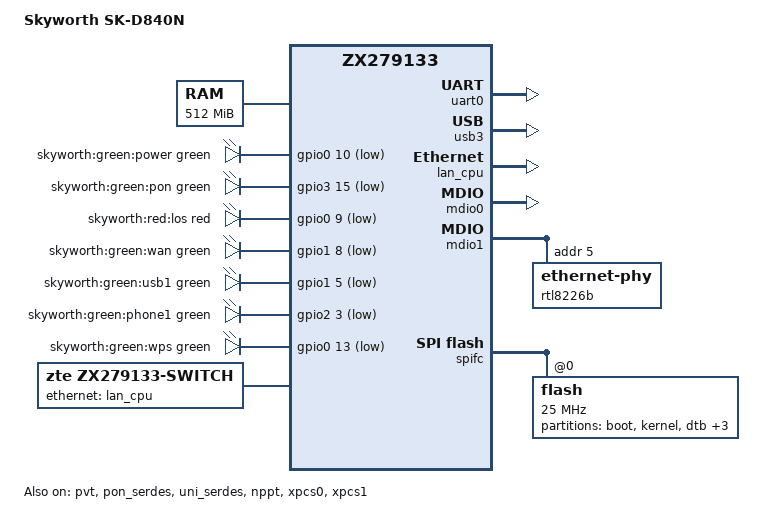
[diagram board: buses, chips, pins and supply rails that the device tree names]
// SPDX-License-Identifier: GPL-2.0-only OR BSD-2-Clause
// Skyworth SK-D840N (GPON ONU, Sanechips/ZTE ZX279133) board tree for the
// cnjn mainline 6.18.38 zte/zx279133 target.
//
// Facts taken from this unit, not guessed:
//   - SPI-NAND hangs off the SFC at 0x10d0f000 (live: /sys/.../10d0f000.spifc/spi_master/spi1/spi1.0)
//   - partition map is derived from the community/vendor U-Boot one (env at boot+0x180000):
//       boot 2048k@0x0 kernel 8192k@0x200000 dtb 1024k@0xa00000
//       "parameter tags" 4096k@0xb00000 root+scratch 246784k@0xf00000
//     This DTS splits that last 246784k (= 241 MiB) into root 240 MiB at 0xf00000 and
//     scratch 1 MiB at 0xff00000 (the vendor 4.19 table keeps it as one 241 MiB root).
//     The /dev/mtdN numbering is pinned by the mtd1..mtd6 aliases below, not counted off
//     node order, so it survives a kernel-config change: boot=1 kernel=2 dtb=3
//     "parameter tags"=4 root=5 scratch=6, and mtd0 is the SPI-NAND master if
//     CONFIG_MTD_PARTITIONED_MASTER is enabled and absent if it is not.
//     (`root` must stay index 5 - the installed U-Boot bootargs hard-code
//      root=/dev/mtdblock5 - *and* must start at 0xf00000, because that is where the
//      system that does the flashing puts its own `root`: the vendor 4.19 table is
//      whole/boot/kernel/dtb/param/root@0xf00000 (one 241 MiB root), and /sbin/mtd
//      on it can only erase and write a whole partition by label. An image that
//      satisfied one constraint but not the other boots as a VFS panic with no
//      serial to read.)
//   - console is the PL011-compatible zte,zx279133-uart at 0x10d0d000, 115200n8
//   - memory is 512 MiB at 0x80000000 (stock DTB: reg = <0x0 0x80000000 0x0 0x20000000>)
//
// OPEN ITEMS (deliberately copied from the validated SR1010 board file, to be
// re-probed on this unit before the image is ever flashed):
//   * Only the RTL8226 port below is reachable in mainline. The four GE LAN ports
//     sit behind the SoC-internal "9132" UNI switch, which the vendor drives
//     without phylib or DSA at all: switch.ko writes the port/VLAN tables directly
//     at module init. The /dev/ethdriver ioctl is an 8-byte stub, NOT a config
//     interface (docs/07 补九十七); do not use it as the bring-up path. There is no
//     mainline equivalent, so SR1010's RTL8372N DSA node is dropped and the LAN-side
//     zte,zx279133-lan-conduit child is left out too (it is the CPU port of an
//     external switch this board does not have).
//     mainline registers eth0 but never moves traffic through it; the vendor 4.19
//     also sends 0 bytes on this jack (docs/07 补九十四). Only U-Boot has moved
//     traffic (11 MB) - so jack 4 is optional, not the bring-up gate.
//     This unit has **no WAN/uplink jack at all** - the front panel is 4x LAN plus
//     the fibre PON - so eth0 (NPPT + RTL8226) is one of those four LAN jacks, and
//     the running image only calls it `wan` because the community config came from
//     a router default (lan bridge = eth1 eth2 eth3, wan.device = eth0). Which jack
//     it is can be read straight off the vendor driver, which logs the port number
//     per netdev: `[eth0] port 4 link up` / `[eth1] port 1 link up:1000M`, i.e.
//     move a cable and watch dmesg. Anyone testing over the wire has to be in
//     *that* jack, because no LAN port driven by the 9132 exists in mainline.
//   * MAC address: the ZTE "parameter tags" nvmem layout of SR1010 does not
//     apply, so no MAC source is given; see the comment on &nppt.

/dts-v1/;

#include <dt-bindings/gpio/gpio.h>
#include <dt-bindings/input/input.h>
#include <dt-bindings/leds/common.h>

#include "zx279133.dtsi"

/ {
	model = "Skyworth SK-D840N";
	compatible = "skyworth,sk-d840n", "zte,zx279133";

	aliases {
		serial0 = &uart0;
		watchdog0 = &watchdog0;
		watchdog1 = &watchdog1;
		/* Pin the /dev/mtdN numbering (drivers/mtd/mtdcore.c add_mtd_device():
		 * `ofidx = of_alias_get_id(np, "mtd")` then idr_alloc(ofidx, ofidx+1)).
		 * Without this the numbers depend on CONFIG_MTD_PARTITIONED_MASTER, which
		 * decides whether the SPI-NAND master itself occupies mtd0 - and a wrong
		 * guess boots as a VFS panic on the wrong partition, with no serial to read.
		 */
		mtd1 = &bootpart;
		mtd2 = &kernelpart;
		mtd3 = &dtbpart;
		mtd4 = &tagspart;
		mtd5 = &rootpart;
		mtd6 = &scratchpart;
	};

	chosen {
		stdout-path = "serial0:115200n8";
		/* Same string the build script pins into CONFIG_CMDLINE. It belongs here as
		 * well because the kernel's built-in-vs-bootloader precedence (FROM_BOOTLOADER,
		 * EXTEND, FORCE) is a config choice nobody is looking at, and the two spellings
		 * agreeing is what makes the root device the same in all three. mtdblock5 is
		 * pinned by the mtd5 alias below, and jffs2 is what the root partition holds.
		 */
		bootargs = "console=ttyAMA0,115200n8 root=/dev/mtdblock5 rootfstype=jffs2 ro rootwait";
	};

	memory@80000000 {
		device_type = "memory";
		reg = <0x0 0x80000000 0x0 0x20000000>;
	};

	reserved-memory {
		#address-cells = <2>;
		#size-cells = <2>;
		ranges;

		se_hash_reserved: buffer@9e100000 {
			reg = <0x0 0x9e100000 0x0 0x1000000>;
			no-map;
		};

		idm_reserved: buffer@9d700000 {
			reg = <0x0 0x9d700000 0x0 0xa00000>;
			no-map;
		};

		/*
		 * The BMU's pool: the BPPE tables, the normal buffers, the jumbo
		 * buffers and the descriptor area, in that order.  Its size has to
		 * cover ZX279133_BMU_REQUIRED_SIZE (0x101e000), which grew when
		 * the buffer size went to the vendor's 0x900 bytes.
		 *
		 * It used to sit at 0x9f100000, in the top 15 MiB, and it does
		 * not fit there any more.  The gap between the ramoops area and
		 * the IDM's pool - 0x9c200000..0x9d700000 - is the only space
		 * left that the marker test says U-Boot does not own (0x9c000000
		 * and 0x9d000000 both survived the reboot) and that the trial
		 * kernel's own text never reaches (trial-kexec.sh caps the
		 * placement below 0x9c000000).
		 */
		bmu_reserved: buffer@9c200000 {
			reg = <0x0 0x9c200000 0x0 0x1500000>;
			no-map;
		};

		/* pstore/ramoops: the console log written here survives a *warm* reset, which is
		 * the only way this board can hand back a boot log with no serial port. The
		 * trial round that uses it does not mask CRM 0x10e10208, so the vendor's
		 * already-armed zx_wdt (8 s, fed in-kernel by 4.19) bites some tens of seconds
		 * after the jump; the reset lands back in the flashed system, which dumps this
		 * region from /dev/mem within its first seconds.
		 *
		 * The address is measured, not guessed. Markers were written at nine addresses,
		 * the board was rebooted normally, and the readback says:
		 *   0x90000000 0x94000000 0x98000000 0x9c000000 0x9d000000   survived
		 *   0x9e100000 0x9f100000 0x9fa00000 0x9ff00000              rewritten
		 * so U-Boot owns roughly the top 32 MiB and everything from 0x9d700000 up is
		 * off limits (that is also where idm/se_hash/bmu live). Below that the vendor's
		 * page allocator works from the bottom up, so a dump taken seconds after boot
		 * still has the high end intact - which is the whole race, and why the read has
		 * to happen the moment the flashed system answers.
		 *
		 * 0x9c000000 rather than 0x9d000000 because the first round caught the loader:
		 * kexec's arm64 placement put the trial kernel's own *text* at 0x9d000000 (the
		 * bytes read back there are a literal substring of the Image), and no-map binds
		 * the new kernel, not the loader. trial-kexec.sh now caps the placement below
		 * this region with --mem-max.
		 */
		ramoops: buffer@9c000000 {
			compatible = "ramoops";
			no-map;
			reg = <0x0 0x9c000000 0x0 0x00200000>;
			console-size = <0x100000>;
			record-size = <0x4000>;
			pmsg-size = <0x40000>;
		};
	};

	/* Not copied from SR1010 and not read off the stock DTB's *node names* either -
	 * the running vendor kernel publishes the claim list directly, and it is the
	 * authority: /sys/kernel/debug/gpio names the GPIO each LED holds.
	 *
	 *   10d10000 = &gpio0:  9 led_los, 10 led_power, 13 led_wps
	 *   10d10040 = &gpio1:  5 led_usb1, 8 led_wan
	 *   10d10080 = &gpio2:  3 led_phone1
	 *   10d100c0 = &gpio3: 15 led_pon
	 *   10d10100 = &gpio4:  1 led_wlan
	 *
	 * Active-low, measured rather than inherited: driving the vendor's own LED class
	 * (echo 255 > /sys/class/leds/led_power/brightness) pulls that pin to "out lo" and
	 * the lamp lights, and all eight GPIO LEDs did exactly that. The front row then
	 * names itself, left to right:
	 *   电源=led_power=gpio-10   注册=led_pon=gpio-63   光信号(red)=led_los=gpio-9
	 *   上网=led_wan=gpio-24      lan1..lan4=led_lan0..3  usb1=led_usb1=gpio-21
	 * led_wps and led_phone1 are GPIO-backed in the vendor's list but were never
	 * identified on the case, and **led_wlan is not described at all: this board has no
	 * wireless and no WLAN lamp** (owner, 2026-10-12) - the vendor reserves gpio-65 under
	 * that name the way it reserves led_usb2 (led-id 0x35), which also has no lamp here.
	 *
	 * What is deliberately absent: led_lan0..lan3 appear in the vendor's
	 * /sys/class/leds and do light up when written, but they claim **no GPIO** in that
	 * list - the vendor reaches them through the SoC's LED engine instead, addressed by
	 * the stock DTB's `led-id` cell (led_power = 0x33, led_usb1 = 0x34, led_los = 0x08,
	 * ...), and on this panel those four are its only users. Mainline has no driver for
	 * that engine (see the OPEN ITEMS above), so the four LAN LEDs cannot be described
	 * here at all - they will stay dark under mainline even when a port links, and that
	 * is a missing feature of this SoC's mainline support, not a boot failure.
	 */
	leds {
		compatible = "gpio-leds";

		led-power {
			color = <LED_COLOR_ID_GREEN>;
			/* "on" rather than "keep" is the point, not a style choice: with no
			 * serial port the panel is the only witness that exists before
			 * userspace, and the vendor leaves every lamp dark, so a kernel that
			 * reaches gpio-leds probe lights it by itself. That gives three states
			 * to read off the case - dark = never got here, solid = probe done but
			 * /init never ran, blinking = userspace alive.
			 */
			default-state = "on";
			function = LED_FUNCTION_POWER;
			gpios = <&gpio0 10 GPIO_ACTIVE_LOW>;
			label = "skyworth:green:power";
		};

		led-pon {
			color = <LED_COLOR_ID_GREEN>;
			default-state = "keep";
			function = LED_FUNCTION_WAN;
			gpios = <&gpio3 15 GPIO_ACTIVE_LOW>;
			label = "skyworth:green:pon";
		};

		led-los {
			color = <LED_COLOR_ID_RED>;
			default-state = "keep";
			function = LED_FUNCTION_WAN;
			gpios = <&gpio0 9 GPIO_ACTIVE_LOW>;
			label = "skyworth:red:los";
		};

		led-wan {
			color = <LED_COLOR_ID_GREEN>;
			default-state = "keep";
			function = LED_FUNCTION_LAN;
			gpios = <&gpio1 8 GPIO_ACTIVE_LOW>;
			label = "skyworth:green:wan";
		};

		led-usb1 {
			color = <LED_COLOR_ID_GREEN>;
			default-state = "keep";
			function = LED_FUNCTION_USB;
			gpios = <&gpio1 5 GPIO_ACTIVE_LOW>;
			label = "skyworth:green:usb1";
		};

		led-phone1 {
			color = <LED_COLOR_ID_GREEN>;
			default-state = "keep";
			gpios = <&gpio2 3 GPIO_ACTIVE_LOW>;
			label = "skyworth:green:phone1";
		};

		led-wps {
			color = <LED_COLOR_ID_GREEN>;
			default-state = "keep";
			function = LED_FUNCTION_WPS;
			gpios = <&gpio0 13 GPIO_ACTIVE_LOW>;
			label = "skyworth:green:wps";
		};
	};

	thermal-zones {
		soc-thermal {
			thermal-sensors = <&pvt>;
		};
	};
};

&uart0 {
	status = "okay";
};

&pvt {
	status = "okay";
};

&usb3 {
	status = "okay";
};

&pon_serdes {
	status = "okay";
};

&uni_serdes {
	status = "okay";
};

&nppt {
	/*
	 * The NPPT's own MAC is XMAC1 and its lane is the PON SerDes with XPCS1.
	 * That is what zx279133.dtsi says, and it is what the vendor bootloader
	 * does: "pon serdes init succeed", and separately "mode_eth_1gbase_x_cfg"
	 * + "uni serdes init succeed" + "xmac 0 speed set 2 in sgmii" on the
	 * *other* lane, the one that reaches jack 4's RTL8226.
	 *
	 * An earlier round of this file re-aimed the NPPT at the Uni SerDes and
	 * XPCS0, on the theory that jack 4's RTL8226 sits on the Uni lane.  That
	 * is wrong twice over, and both halves matter:
	 *
	 *   - phy-zx279133-uni-serdes.c only accepts USXGMII/10GBASE-R, so
	 *     phy_set_mode_ext() with the "sgmii" below answers -EOPNOTSUPP and
	 *     zx279133_hardware_prepare() fails at that step.  Everything after
	 *     it in that function - including zx279133_np_prepare(), which is
	 *     where the 9132's port attributes and its PHY enable are
	 *     programmed - is then never reached, the datapath is never
	 *     acquired and no netdev ever comes up.  That is why every trial so
	 *     far moved no bytes at all, and it was not the PHY.
	 *   - the Uni SerDes and XPCS0 are the 9132's CPU port lane
	 *     (docs/16-9132-topology-and-driver-design-20261021.md): the vendor
	 *     prints "xmac0_pcs_base is 0x140000" and "xmac0 is used" before it
	 *     declares its MII devices, and the first of those is "sw", which is
	 *     the 9132's CPU port.  The 9132's own driver owns that lane, the
	 *     same way the RTL8372N driver owns it on the SR1010.
	 *
	 * The PON SerDes driver accepts both SGMII and 2.5GBASE-X, so "sgmii"
	 * is a mode it can actually be put into.  The Uni SerDes and XPCS0 are
	 * left for the switch driver below.
	 */
	phy-mode = "sgmii";
	phys = <&pon_serdes>, <&uni_serdes>;
	phy-names = "serdes", "lan-serdes";
	pcs-handle = <&xpcs1>;
	/* The NP's own memory. Not a guess and not a leftover: in the one U-Boot session
	 * that carried 11,471,728 bytes across this jack while this PC counted +469,482 of
	 * them, every address handed to the NP - TX ring 0xb0008000, RX ring 0xb0028000,
	 * RX buffers from 0xb00e8000, and the TX payload buffer 0xb0328000 named by each
	 * descriptor - was inside 0xb0000000..0xb0400000. It is 256 MiB above the top of
	 * the CPU's DRAM, so no allocator here can ever hand the driver such an address. */
	zte,np-pool-base = <0xb0000000>;
	zte,np-pool-size = <0x400000>;
	memory-region = <&bmu_reserved>, <&se_hash_reserved>, <&idm_reserved>;
	memory-region-names = "bmu", "se-hash", "idm";
	/* No /delete-property/ phy-handle here, and that is a measured choice, not an oversight:
	 * the base node has no such property to delete. Read from upstream-read/zx279133.dtsi:462
	 * (nppt: ethernet@19000000) on 2026-10-19, the SoC include gives this node
	 * `compatible`, `reg`, `reg-names = "nppt", "pps"`, `interrupts`/`interrupt-names`,
	 * `pcs-handle = <&xpcs1>`, `zte,lan-pcs-handle = <&xpcs0>`,
	 * `phy-names = "serdes", "lan-serdes"` and `status = "disabled"` - and no `phy-handle`.
	 * The only `phy-handle` this port ever had was the one this file itself wrote, and that
	 * line is gone. Deleting a property that does not exist is also what run 56 died on
	 * (4m 29s into the DTS gate, "does not compile while sr1010.dts does"), so the guard lives
	 * where it can be checked instead: the CI content gate asserts against the compiled blob
	 * that this node has `fixed-link` and has no `phy-handle`, which fails loudly if a future
	 * SoC include ever starts handing this port a PHY.
	 */
	/* fixed-link, and it is the PHY half of the inherit decision the uni_serdes
	 * driver made in run 52. Measured 2026-10-18 22:20 (run 53, the round after
	 * the lane was finally left alone):
	 *   [    4.230596] ... Uni SerDes 1G inherited: mode 0x1 already, image differs in 0/49 word(s)
	 *   [    4.258513] ... eth0: PHY [14f02000.mdio:05] driver [RTL8221B-VB-CG 2.5Gbps PHY (C22)] (irq=POLL)
	 *   [    4.259470] ... eth0: configuring for phy/sgmii link mode
	 *   ethtool: Supported link modes: 10baseT/Half 10baseT/Full | Link detected: no
	 *   rx_packets 0 in all four readings, and tx_packets 0 as well.
	 * So the SoC half of the lane is now provably byte-identical to the state that
	 * moved 11 MB through this jack in U-Boot, and the port is still silent. What
	 * is *not* inherited is the other end of the SerDes: attaching the PHY runs
	 * phy_attach_direct() -> phy_init_hw(), which soft-resets the RTL8226B and
	 * replays realtek's config_init over C22 extended registers, and the mask that
	 * came back is the tell - a PHY U-Boot had running at 1000M/full on this very
	 * jack reports 10baseT only, i.e. it was left in a mode none of the recovered
	 * tables describe. Link down also means phylink never reaches mac_link_up(),
	 * which is why tx fell to 0 where run 50 counted xmac_tx_good_frames 12.
	 *
	 * A fixed link removes the whole PHY state machine: phylink_parse_mode() sees
	 * this child node and sets MLO_AN_FIXED, phylink_expects_phy() then answers
	 * false, phylink_fwnode_phy_connect() returns before phy_attach_direct(), and
	 * phy_init_hw() has no other caller on a boot that never suspends. So no
	 * *write* reaches the chip - no soft reset, no config_init replay - and it keeps
	 * exactly what U-Boot left, including the copper-side auto-negotiation with the
	 * peer, which is what the 11 MB download already proved works. Reads are a
	 * different matter and this sentence used to deny them: of_mdiobus still
	 * instantiates 14f02000.mdio:05, binds RTL8221B-VB-CG, and phy_probe() calls
	 * .probe and .get_features on that bus, which is how the line above at
	 * 4.258513s could name the driver at all. phy-handle must NOT come back beside
	 * this node: the rtl8226b node stays in &mdio1 as the record of what is at
	 * address 5, and of_mdiobus still reads its ID, but nothing may attach it.
	 *
	 * What still runs is mainline's own zx279133_xmac_sgmii_init() and
	 * zx279133_wan_port_bringup() from mac_link_up(), so this round separates the
	 * last two causes: frames both ways = the PHY re-init was what killed the
	 * lane; TX-only again = the MAC bring-up is the second thing that has to
	 * inherit.
	 */
	/*
	 * The board's MAC address.
	 *
	 * SR1010 reads its MAC from an nvmem-layout over its own "tags"
	 * partition, whose zte,sr1010-tags parser does not describe this unit's
	 * "parameter tags" layout, so there is no nvmem-cells to point at here.
	 * Without a MAC source the driver falls back to a generated random MAC,
	 * which is usable for a lab image but not for anything else: the MAC is
	 * what the 9132's SPA (its MAC table) is programmed with
	 * (zx279133_program_spa_cpu_mac() writes the netdev's address into the
	 * SPA's ONU slots) and what the XMAC0 in front of the CPU port
	 * compares an incoming frame's destination against.  A random address
	 * therefore makes every frame the outside world sends to this board
	 * unroutable, which is exactly what the bench saw: the PC's frames
	 * reached the 9132 and were dropped there, and the RED's counters moved
	 * while no netdev ever counted a byte.
	 *
	 * d0:45:8d:84:09:00 is the address this board answers on.  It is the
	 * address the vendor firmware puts on the wire for 192.168.9.1: the
	 * vendor's own `ip -o link show` shows eth0 = d0:45:8d:84:08:ff and
	 * br-lan = d0:45:8d:84:09:00, and 192.168.9.1 lives on br-lan.
	 *
	 * Measured on 2026-10-23 with the board running its vendor firmware and
	 * the PC on its wired adapter:
	 *
	 *	arp entry d0:45:8d:84:09:00 -> ping 192.168.9.1: 0% loss
	 *	arp entry d0:45:8d:84:08:ff -> ping 192.168.9.1: 100% loss
	 *
	 * so :09:00 is the address the outside world has to use, and :08:ff is
	 * eth0's own address and answers for nothing.
	 *
	 * The address 3e:8e:98:91:64:2a that this node carried before was not a
	 * factory address at all: it was read out of one trial boot's
	 * /proc/net/dev, where the kernel had already made a random one (the
	 * locally-administered bit is set).  A random address is unroutable from
	 * the outside, which is what the bench saw.
	 *
	 * It is a per-device address, so a build for another unit has to have
	 * its own; the production answer is to parse the vendor's "parameter
	 * tags" partition, which is not done yet.
	 */
	local-mac-address = [d0 45 8d 84 09 00];
	status = "okay";

	/*
	 * The 9132's four UNI ports have their own internal PHYs, and the
	 * vendor enables them over MDIO controller #0: np_133.ko's
	 * smac_set_port_enable() calls zte_set_gephy_enable(), which reads the
	 * PHY's BMCR, clears bit 11 (POWERDOWN) and writes it back over
	 * zx_mdio_0_read/write().  The addresses are not a guess: the running
	 * vendor system's device tree carries a `uni-phy` property on both
	 * MDIO controllers and it is the u32 array
	 *
	 *	{ 0x0a, 0x0b, 0x0c, 0x0d, 0x05, 0x1c, 0x02 }
	 *
	 * where 0x0a..0x0d are the four internal UNI PHYs and 0x05 is the
	 * RTL8226 on jack 4, which &mdio1 below already declares at address 5.
	 *
	 * Naming the bus here is what lets the driver reach them; nothing
	 * attaches a PHY to them, because phylib would have no netdev to give
	 * them to and would never call phy_start() on them.
	 */
	zx279133,uni-phy-bus = <&mdio0>;

	/* LAST of this node's properties, and it has to be: dtc orders a node as
	 * properties-then-subnodes ("Properties must precede subnodes", run 60 at
	 * 393.2-18), so a `fixed-link {}` written among the properties kills the
	 * build - and runs 56-59 died on exactly that before the DEVMEM change
	 * ever got measured. devtools/dtslint.py now checks this rule locally.
	 */
	fixed-link {
		speed = <1000>;
		full-duplex;
	};

	/*
	 * The 9132 is this board's LAN switch, and it sits on the XMAC0 LAN
	 * lane - the same place the RTL8372N's CPU port sits on the SR1010.
	 * The evidence is in docs/16-9132-topology-and-driver-design-20261021.md:
	 * the vendor prints "xmac0_pcs_base is 0x140000" and "xmac0 is used"
	 * before it declares its MII devices, and the first of those is "sw",
	 * which is the 9132's CPU port.
	 *
	 * The LAN conduit is the netdev on that CPU port.  It is a child of the
	 * NPPT controller on the SR1010 too, and the NPPT driver keeps the
	 * shared datapath; the switch driver takes it with
	 * zx279133_lan_service_datapath_get().
	 *
	 * Both are subnodes of &nppt, so they come after the properties and
	 * after the fixed-link child - dtc orders a node as properties-then-
	 * subnodes, and a property written among the subnodes kills the build.
	 */
	lan_cpu: ethernet-lan-cpu {
		compatible = "zte,zx279133-lan-conduit";

		/*
		 * The address the board answers on, and the one the vendor
		 * firmware puts on the wire for 192.168.9.1: d0:45:8d:84:09:00.
		 *
		 * It has to be *here* and not on the parent.  The driver reads it
		 * with of_get_ethdev_address(dev->of_node, ndev), and dev->of_node
		 * is this node - the one the driver probes.  With the property
		 * on the parent the read fails and the driver falls back to
		 * eth_hw_addr_random(), so the board answers on a different
		 * address on every boot.  The address then never reaches the
		 * switch's own table, a frame addressed to it finds no entry,
		 * and the switch floods it - and the CPU trap is in no flood
		 * group, so the frame is dropped inside the chip: the RED's
		 * counters move and no netdev ever counts a byte.
		 *
		 * Measured 2026-10-23: with the vendor firmware the same PC
		 * reaches 192.168.9.1 with 0% loss on this address.
		 */
		local-mac-address = [d0 45 8d 84 09 00];
	};

	switch {
		compatible = "zte,zx279133-switch";

		/*
		 * The four UNI ports as DSA ports, and the CPU port on the
		 * conduit.
		 *
		 * The port numbers are the tree's RTL8372N numbers on purpose.
		 * The tagger the tree ships for this SoC's LAN conduit puts the
		 * transport VID 55 + port on the conduit - 59..62 for ports
		 * 4..7 - and those are exactly the VIDs the NPPT driver programs
		 * as the untagged SVID (the PVID) of the 9132's PPU ports 1..4.
		 * So the tree's tagger, the tree's VIDs and this board's PVIDs
		 * are one scheme, and DSA port N + 3 is the 9132's PPU port N.
		 *
		 * The labels name the 9132's own UNI ports.  Which of the four
		 * jacks each of them is does not claim a panel order: the
		 * vendor's own table says only that the test PC is in switch
		 * port 1, and the panel order is not established.
		 */
		ports {
			#address-cells = <1>;
			#size-cells = <0>;

			/*
			 * The four UNI ports.
			 *
			 * These have internal PHYs (the 9132's own, at MDIO
			 * 0x0a..0x0d on controller #0), and the tree's DSA
			 * contract for a user port with no phy-handle is to
			 * take them from ds->user_mii_bus at an address equal
			 * to the port number (net/dsa/port.c: "User ports with
			 * no phy-handle or fixed-link are expected to connect
			 * to an internal PHY located on the ds->user_mii_bus
			 * at an MDIO address equal to the port number").
			 *
			 * That path needs two things this tree does not have
			 * for this chip: a mii_bus of our own (the 9132's PHYs
			 * are not on a bus of the switch's, they are on the
			 * SoC's controller #0) and a PHY driver that matches
			 * them.  The chip answers 0x84b9:0x5032, and no
			 * driver in this tree claims that id - the tree's own
			 * zx279051.c expects 0x000084b9 and reads it over
			 * Clause 45, while these are Clause 22.
			 *
			 * So the ports carry a fixed-link for now.  It is the
			 * one thing phylink needs no PHY for:
			 * phylink_fwnode_phy_connect() returns 0 as soon as
			 * cfg_link_an_mode is MLO_AN_FIXED, before it looks
			 * for a PHY at all, so the four netdevs appear and
			 * the switch registration completes.
			 *
			 * What this costs, and it is not nothing: a port in
			 * fixed-link mode has no carrier of its own, so it
			 * claims 1G/full whether or not a cable is in it.
			 * The PHYs themselves are untouched - the NPPT driver
			 * still powers them and enables auto-negotiation
			 * (zx279133_9132_phy_enable()), and the 9132 reads
			 * their link state itself, so traffic still only
			 * moves when a cable is really there.  What is lost
			 * is the *software's* view of the link, and with it
			 * the per-port speed and duplex that a real PHY
			 * would report.
			 *
			 * The replacement is a PHY driver of our own and a
			 * mii_bus of our own; until that exists this is the
			 * honest way to say "1G, full duplex, and the PHY on
			 * the other end negotiates as it always did".
			 */
			port@4 {
				reg = <4>;
				label = "lan1";
				phy-mode = "internal";

				fixed-link {
					speed = <1000>;
					full-duplex;
				};
			};

			port@5 {
				reg = <5>;
				label = "lan2";
				phy-mode = "internal";

				fixed-link {
					speed = <1000>;
					full-duplex;
				};
			};

			port@6 {
				reg = <6>;
				label = "lan3";
				phy-mode = "internal";

				fixed-link {
					speed = <1000>;
					full-duplex;
				};
			};

			port@7 {
				reg = <7>;
				label = "lan4";
				phy-mode = "internal";

				fixed-link {
					speed = <1000>;
					full-duplex;
				};
			};

			port@8 {
				reg = <8>;
				ethernet = <&lan_cpu>;
				phy-mode = "sgmii";

				fixed-link {
					speed = <1000>;
					full-duplex;
				};
			};
		};
	};
};

&mdio0 {
	status = "okay";
};

&mdio1 {
	status = "okay";

	/* The one external PHY on this board. Evidence from the running unit:
	 *  - /lib/modules/4.19.136+/rlt8226b.ko + /sys/module/rlt8226b, dmesg
	 *    "Start insmod R8226b_init!" / "r8226b_phy_probe: 576: rtl8226b Phy
	 *    Driver Probe Done", and its outerphy table names index 5 phy_RTL8226.
	 *  - /sys/firmware/devicetree/base/soc/pon_plat/mdio_8226_id = <1>, and
	 *    dmesg labels 14f02000.mdio "MDIO id = 1" -> this bus, address 5
	 *    (SR1010 has its PHY at address 1 on the same bus).
	 *
	 * Deliberately **no compatible**: SR1010's node says
	 * "ethernet-phy-id0000.84b9", which is the ZX279051's ID, and a compatible
	 * on a PHY node overrides ID matching - the first mainline trial therefore
	 * bound the ZX279051 driver to a Realtek chip and wrote ZX279051 registers
	 * into it, which is the plainest explanation for a board that otherwise
	 * clearly ran (its 9132 ports went down, so mainline had re-initialised the
	 * SoC) while the one cable that matters stayed dead. Without a compatible,
	 * phylib matches the ID the chip actually reports against CONFIG_REALTEK_PHY
	 * ("Currently supports RTL821x/RTL822x"), which is enabled for that reason
	 * in scripts/configure-sk-d840n.sh, and genphy remains the fallback.
	 *
	 * Also deliberately **no reset-gpios**: derived from the stock bdinfo
	 * "phy-reset = <0x28>" (global GPIO 40 = &gpio2 8) it is the one number here
	 * that was never confirmed, and phylib *asserts* a reset GPIO it is told
	 * about - wrong pin, and the PHY is held in the wrong state instead of
	 * simply being configured. The PHY is already out of reset when the kernel
	 * starts on this unit, because the vendor bootloader configured it.
	 */
	rtl8226b: ethernet-phy@5 {
		reg = <5>;
		max-speed = <2500>;
	};
};

&xpcs0 {
	status = "okay";
};

&xpcs1 {
	status = "okay";
};

/* Both watchdogs are switched off for the trials, and the reason is the window
 * they would cut, not a belief that nothing feeds them: zx279133.dtsi already
 * ships watchdog0 (14f09000) as "okay" with timeout-sec = <10> and
 * zte,restart-watchdog, and procd's watchdog_init() opens /dev/watchdog whenever
 * the node exists (it is not gated on system.@system[0].watchdog_timeout), so an
 * image that reaches procd does feed it. What has no feeder is everything before
 * procd - driver probe, first-boot board detection - and a 10 s timeout armed the
 * moment procd starts is what then bites, with no console to see it from.
 *
 * The ~43 s reset measured after kexec-ing this board's Image was *not* this
 * watchdog: the 4.19 vendor kernel arms three zx_wdt instances at 8 s and feeds
 * them in-kernel, that feeding stops when the old kernel dies, and the reset
 * routing is the volatile CRM register 0x10e10208 (writing it to 0x0 keeps the
 * board up; 0x101 only delays the bite).
 *
 * To be settled from a shell on mainline, then re-enabled for the flashed image:
 * with watchdog0 "okay", a flashed mainline that hangs early at least resets
 * instead of wedging - which is not recovery (there is no A/B and no serial), but
 * it is better than a board that has to be power-cycled to notice anything.
 */
&watchdog0 {
	status = "disabled";
};

&watchdog1 {
	status = "disabled";
};

/* Two constraints, and they only fit together one way.
 *
 * 1. No env edit is needed to boot this image: U-Boot's bootargs say
 *    `root=/dev/mtdblock5`, so `root` has to end up as /dev/mtdblock5. That is now
 *    *pinned* rather than counted - see the mtd1..mtd6 aliases above. Counting nodes
 *    was the old approach and it was not safe: whether the SPI-NAND master itself takes
 *    mtd0 depends on CONFIG_MTD_PARTITIONED_MASTER (mtdcore.c: `if
 *    IS_ENABLED(CONFIG_MTD_PARTITIONED_MASTER) add_mtd_device(mtd)` runs before the
 *    partitions are registered), so the same blob is mtd4 or mtd5 depending on a kernel
 *    config nobody is looking at. A pin cannot drift.
 * 2. The image has to be programmable from the system that is installed now.
 *    That flasher runs on the vendor 4.19 and writes by partition LABEL,
 *    because `/sbin/mtd` can only erase/write a whole partition - there is no
 *    tool on this image that erases a sub-range. The 4.19's own mtd table puts
 *    `root` at 0xf00000, so `root` here must start at 0xf00000 too: an offset
 *    of 0x1000000 would have the flasher write the jffs2 one erase block
 *    *below* where the new kernel looks for it, which boots as a panic on an
 *    empty root and leaves no way back without a serial cable.
 *
 * The pin also frees the table from the hack that used to satisfy (1): U-Boot's single
 * 4096k `parameter tags` region is no longer split in two to fill a slot, so it is one
 * read-only node again and still covers the bytes U-Boot keeps its MAC/calibration in.
 * `scratch` (1 MiB at 0xff00000) is not a usable log area either - erasing a sub-range
 * needs the MEMERASE ioctl, which no tool on this image provides - its only job is to
 * keep the chip fully described.
 *
 * Offsets/labels otherwise mirror the community U-Boot env
 * (boot 2048k@0x0, kernel 8192k@0x200000, dtb 1024k@0xa00000,
 *  "parameter tags" 4096k@0xb00000, root 246784k@0xf00000).
 */
&spifc {
	spi-max-frequency = <25000000>;
	status = "okay";

	flash@0 {
		partitions-only;
		spi-max-frequency = <25000000>;

		/delete-node/ partitions;
		partitions {
			compatible = "fixed-partitions";
			#address-cells = <1>;
			#size-cells = <1>;

			bootpart: partition@0 {
				label = "boot";
				reg = <0x000000 0x200000>;
				read-only;
			};

			kernelpart: partition@200000 {
				label = "kernel";
				reg = <0x200000 0x800000>;
			};

			dtbpart: partition@a00000 {
				label = "dtb";
				reg = <0xa00000 0x100000>;
			};

			tagspart: partition@b00000 {
				label = "parameter tags";
				reg = <0xb00000 0x400000>;
				read-only;
			};

			rootpart: partition@f00000 {
				label = "root";
				reg = <0xf00000 0xf000000>;
			};

			scratchpart: partition@ff00000 {
				label = "scratch";
				reg = <0xff00000 0x100000>;
			};
		};
	};
};
